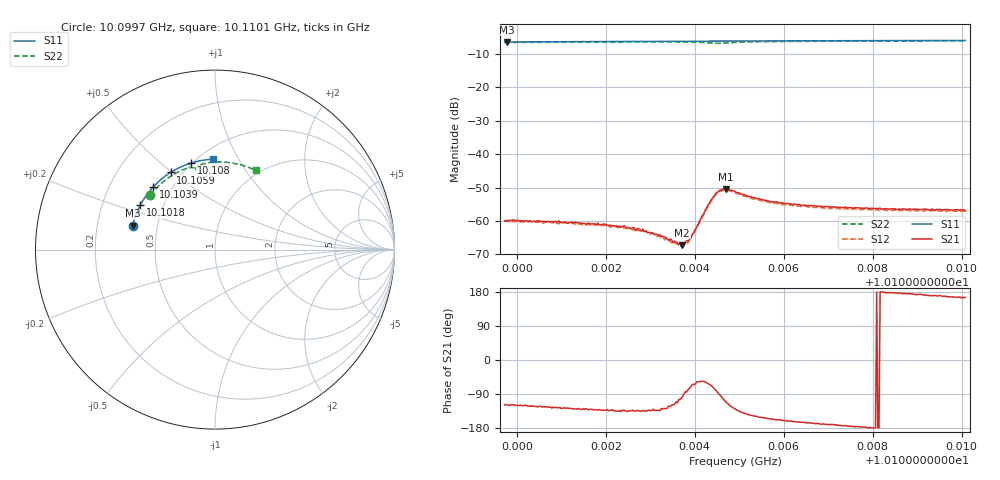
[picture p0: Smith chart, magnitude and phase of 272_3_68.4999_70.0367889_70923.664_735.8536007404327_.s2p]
#  HZ  S  RI  R  50.00
! Rohde & Schwarz Vector Network Analyzer
! Rohde-Schwarz,ZNB20-2Port,1311601062101988,3.16
! Created: UTC 3/20/2024, 5:00:48 PM
! freq[Hz]  re:S11  im:S11  re:S21  im:S21  re:S12  im:S12  re:S22  im:S22
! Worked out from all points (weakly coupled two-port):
!   401 points, 10.0997 GHz to 10.1101 GHz, reference 50 ohm
!   highest |S21| = -50.44 dB at 10.1047 GHz (marker M1); lowest = -67.2 dB at 10.1037 GHz (marker M2)
!   lowest |S11| = -6.4 dB at 10.0998 GHz (marker M3), VSWR 2.83, Z = 18 + j6.18 ohm
!   |S11| at or under -10 dB: nowhere
!   |S22| runs from -6.8 to -6.1 dB; largest |S21 - S12| = 0.00033
!   S11 on the Smith chart (normalised r, x): 10.0997 GHz: 0.36, +0.12; 10.1018 GHz: 0.37, +0.24; 10.1039 GHz: 0.39, +0.36; 10.1059 GHz: 0.43, +0.49; 10.108 GHz: 0.49, +0.64; 10.1101 GHz: 0.59, +0.79
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1.009973e10  -0.4596 0.1295  -0.000481 -0.000883  -0.000413 -0.000896  -0.3606 0.3016
1.009978e10  -0.4588 0.1325  -0.000489 -0.000895  -0.00042 -0.000897  -0.3588 0.3044
1.010146e10  -0.4253 0.2293  -0.000585 -0.000695  -0.000502 -0.000717  -0.283 0.3821
1.01018e10  -0.4162 0.2477  -0.000577 -0.000663  -0.000524 -0.000694  -0.2657 0.3956
1.010242e10  -0.3973 0.2805  -0.000574 -0.000623  -0.000485 -0.000602  -0.2319 0.4181
1.010283e10  -0.3834 0.3014  -0.000522 -0.000543  -0.000462 -0.000546  -0.2079 0.4317
1.01032e10  -0.3701 0.3189  -0.000405 -0.000445  -0.000346 -0.000469  -0.1859 0.4422
1.010351e10  -0.3584 0.3336  -0.000223 -0.000416  -0.000172 -0.000422  -0.1658 0.4499
1.010371e10  -0.3501 0.3432  -6.86e-05 -0.000432  -1.6e-05 -0.000448  -0.1516 0.454
1.010387e10  -0.3435 0.3501  0.000117 -0.000491  0.000181 -0.000471  -0.1402 0.4565
1.010397e10  -0.3396 0.3547  0.000289 -0.000587  0.000309 -0.000545  -0.1324 0.4573
1.010428e10  -0.3262 0.3681  0.000798 -0.00146  0.000901 -0.00127  -0.1095 0.4529
1.010441e10  -0.3204 0.3734  0.000707 -0.00214  0.000833 -0.00201  -0.1045 0.4471
1.010454e10  -0.3147 0.3786  2.2e-05 -0.0028  0.000286 -0.0027  -0.1051 0.4432
1.01047e10  -0.3077 0.3847  -0.00105 -0.00281  -0.000733 -0.00278  -0.1076 0.4478
1.010491e10  -0.2982 0.393  -0.00173 -0.00214  -0.0015 -0.00216  -0.1012 0.4599
1.010535e10  -0.2772 0.4095  -0.00189 -0.00117  -0.0017 -0.00128  -0.0731 0.4758
1.010594e10  -0.2474 0.43  -0.00173 -0.000697  -0.00158 -0.000796  -0.0327 0.4848
1.010664e10  -0.2108 0.4509  -0.00164 -0.0004  -0.00152 -0.000519  0.0134 0.4885
1.010801e10  -0.1339 0.4821  -0.00151 -1.13e-05  -0.00145 -0.000182  0.1015 0.4816
1.010838e10  -0.1129 0.4881  -0.0015 6.91e-05  -0.00144 -9.04e-05  0.1245 0.4772
1.011008e10  -0.0107 0.5035  -0.00137 0.000359  -0.00138 0.000225  0.2271 0.4411
